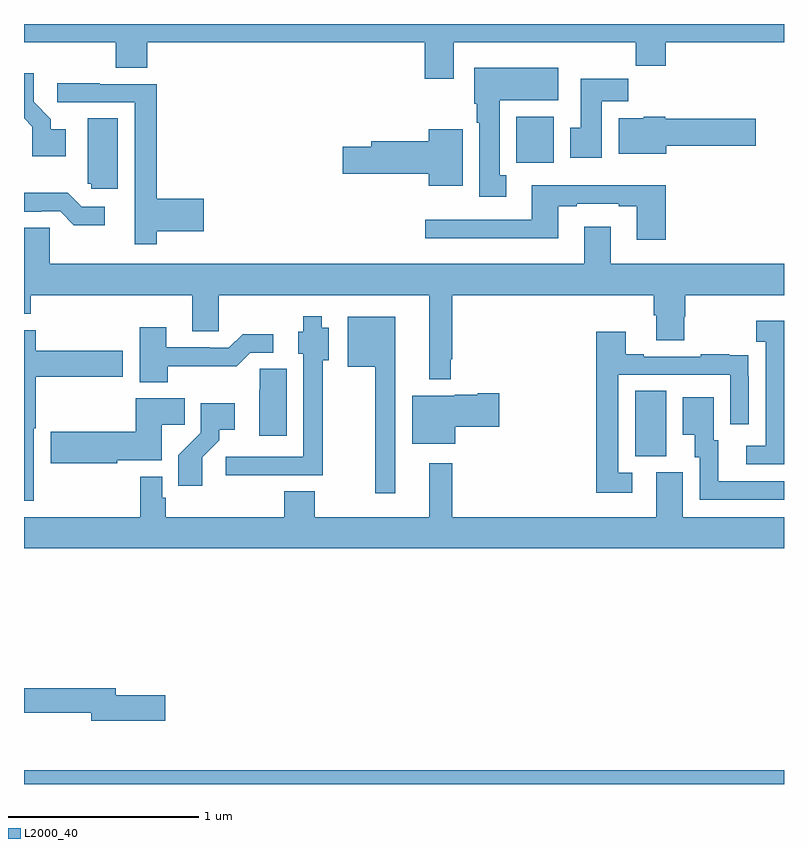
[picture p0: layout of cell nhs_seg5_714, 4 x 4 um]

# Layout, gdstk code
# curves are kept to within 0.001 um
import gdstk
lib = gdstk.Library(unit=1e-6, precision=1e-09)
def R(c, l, rs):  # rectangles x0, y0, x1, y1
    for r in rs: c.add(gdstk.rectangle(r[:2], r[2:], *l))
def P(c, l, *ps):  # polygons
    for p in ps: c.add(gdstk.Polygon(p, *l))
L2000_40 = (2000, 40)

nhs_seg5_714 = lib.new_cell('nhs_seg5_714')
R(nhs_seg5_714, L2000_40, [(155,908.799,159,908.872), (158.216,910.525,158.38,910.868), (157.592,912.068,157.789,912.31)])
P(nhs_seg5_714, L2000_40, [(157.261,912.704),(158.221,912.704),(158.221,912.58),(158.378,912.58),(158.378,912.704),(159,912.704),(159,912.799),(155,912.799),(155,912.704),(155.483,912.704),(155.483,912.568),(155.648,912.568),(155.648,912.704),(157.109,912.704),(157.109,912.51),(157.261,912.51)],
  [(157.537,912.002),(157.504,912.002),(157.504,912.398),(157.813,912.398),(157.813,912.568),(157.37,912.568),(157.37,912.378),(157.382,912.378),(157.382,912.278),(157.397,912.278),(157.397,911.889),(157.537,911.889)],
  [(155.221,912.244),(155.14,912.244),(155.14,912.299),(155.05,912.389),(155.05,912.541),(155,912.541),(155,912.302),(155.043,912.259),(155.043,912.104),(155.221,912.104)],
  [(158.041,912.392),(158.18,912.392),(158.18,912.51),(157.931,912.51),(157.931,912.252),(157.874,912.252),(157.874,912.096),(158.041,912.096)],
  [(155.699,911.708),(155.947,911.708),(155.947,911.879),(155.699,911.879),(155.699,912.483),(155.399,912.483),(155.399,912.486),(155.175,912.486),(155.175,912.387),(155.583,912.387),(155.583,911.862),(155.582,911.862),(155.582,911.64),(155.699,911.64)],
  [(158.38,912.158),(158.851,912.158),(158.851,912.3),(158.376,912.3),(158.376,912.31),(158.262,912.31),(158.262,912.304),(158.129,912.304),(158.129,912.116),(158.38,912.116)],
  [(155.494,912.302),(155.336,912.302),(155.336,911.958),(155.355,911.958),(155.355,911.931),(155.494,911.931)],
  [(157.309,912.244),(157.13,912.244),(157.13,912.182),(156.827,912.182),(156.827,912.152),(156.678,912.152),(156.678,912.01),(157.13,912.01),(157.13,911.948),(157.309,911.948)],
  [(158.378,911.95),(157.673,911.95),(157.673,911.769),(157.113,911.769),(157.113,911.672),(157.813,911.672),(157.813,911.841),(157.909,911.841),(157.909,911.853),(158.129,911.853),(158.129,911.841),(158.225,911.841),(158.225,911.664),(158.378,911.664)],
  [(155.425,911.838),(155.304,911.838),(155.231,911.911),(155,911.911),(155,911.811),(155.09,911.811),(155.09,911.814),(155.19,911.814),(155.263,911.741),(155.425,911.741)],
  [(157.247,911.035),(157.255,911.035),(157.255,911.372),(158.315,911.372),(158.315,911.266),(158.327,911.266),(158.327,911.134),(158.475,911.134),(158.475,911.259),(158.48,911.259),(158.48,911.372),(159,911.372),(159,911.536),(158.089,911.536),(158.089,911.731),(157.949,911.731),(157.949,911.536),(155.136,911.536),(155.136,911.726),(155,911.726),(155,911.273),(155.036,911.273),(155.036,911.372),(155.885,911.372),(155.885,911.182),(156.024,911.182),(156.024,911.372),(157.133,911.372),(157.133,910.928),(157.247,910.928)],
  [(156.287,910.425),(156.572,910.425),(156.572,911.03),(156.604,911.03),(156.604,911.2),(156.568,911.2),(156.568,911.26),(156.47,911.26),(156.47,911.178),(156.443,911.178),(156.443,911.064),(156.471,911.064),(156.471,910.521),(156.063,910.521),(156.063,910.423),(156.287,910.423)],
  [(156.955,911.257),(156.704,911.257),(156.704,910.994),(156.849,910.994),(156.849,910.329),(156.955,910.329)],
  [(159,911.236),(158.853,911.236),(158.853,911.126),(158.904,911.126),(158.904,910.578),(158.802,910.578),(158.802,910.482),(159,910.482)],
  [(155.757,910.998),(156.119,910.997),(156.192,911.07),(156.313,911.07),(156.313,911.167),(156.151,911.167),(156.078,911.094),(155.978,911.094),(155.978,911.097),(155.749,911.097),(155.749,911.203),(155.609,911.203),(155.609,910.913),(155.757,910.913)],
  [(155.05,910.672),(155.063,910.672),(155.063,910.942),(155.521,910.942),(155.521,911.079),(155.063,911.079),(155.063,911.186),(155,911.186),(155,910.29),(155.05,910.29)],
  [(158.2,910.437),(158.127,910.437),(158.127,910.953),(158.718,910.953),(158.718,910.692),(158.814,910.692),(158.814,910.946),(158.813,910.946),(158.813,911.055),(158.711,911.055),(158.711,911.062),(158.563,911.062),(158.563,911.049),(158.263,911.049),(158.263,911.062),(158.167,911.062),(158.167,911.179),(158.011,911.179),(158.011,910.332),(158.2,910.332)],
  [(156.382,910.985),(156.24,910.985),(156.24,910.874),(156.239,910.874),(156.239,910.632),(156.382,910.632)],
  [(157.27,910.678),(157.501,910.678),(157.501,910.856),(157.388,910.856),(157.388,910.849),(157.266,910.849),(157.266,910.843),(157.043,910.843),(157.043,910.589),(157.27,910.589)],
  [(159,910.392),(158.653,910.392),(158.653,910.608),(158.629,910.608),(158.629,910.834),(158.468,910.834),(158.468,910.637),(158.531,910.637),(158.531,910.518),(158.556,910.518),(158.556,910.296),(159,910.296)],
  [(155.49,910.502),(155.725,910.502),(155.725,910.69),(155.846,910.69),(155.846,910.828),(155.588,910.828),(155.588,910.653),(155.142,910.653),(155.142,910.487),(155.49,910.487)],
  [(155.938,910.519),(156.028,910.609),(156.028,910.664),(156.109,910.664),(156.109,910.804),(155.931,910.804),(155.931,910.649),(155.812,910.53),(155.812,910.368),(155.938,910.368)],
  [(159,910.204),(158.467,910.204),(158.467,910.44),(158.327,910.44),(158.327,910.204),(157.255,910.204),(157.255,910.486),(157.133,910.486),(157.133,910.204),(156.531,910.204),(156.531,910.34),(156.371,910.34),(156.371,910.204),(155.747,910.204),(155.747,910.305),(155.727,910.305),(155.727,910.417),(155.611,910.417),(155.611,910.204),(155,910.204),(155,910.04),(159,910.04)],
  [(155.743,909.266),(155.482,909.266),(155.482,909.302),(155,909.302),(155,909.174),(155.354,909.174),(155.354,909.131),(155.743,909.131)])

lib.write_gds('nhs_seg5_714.gds')
